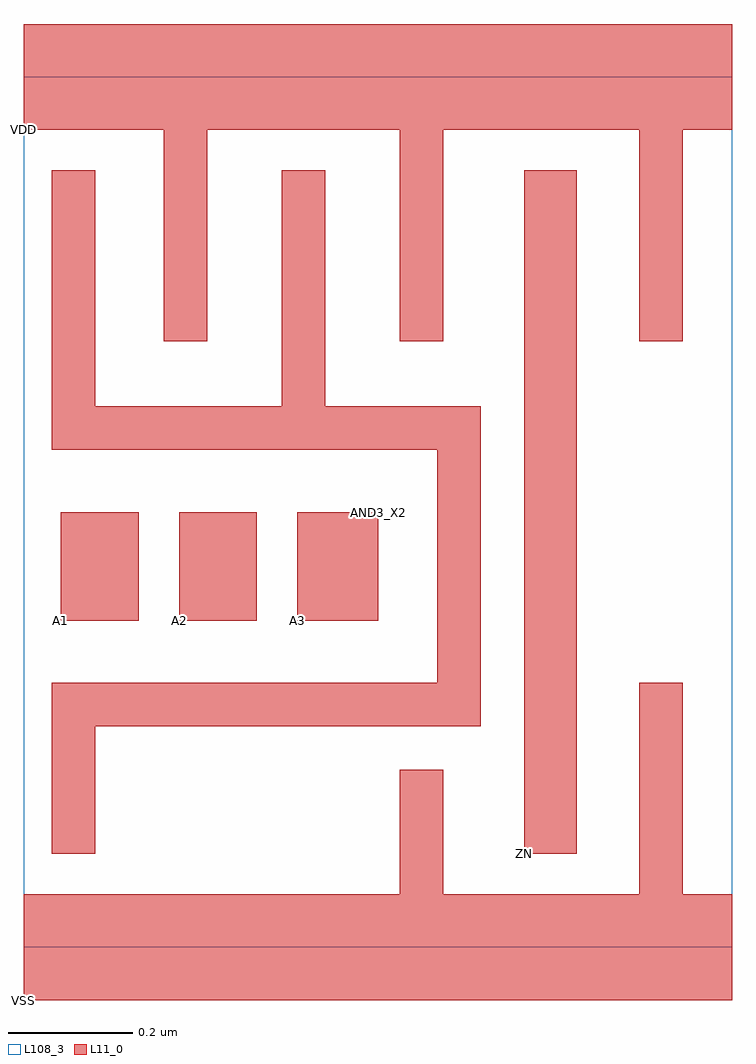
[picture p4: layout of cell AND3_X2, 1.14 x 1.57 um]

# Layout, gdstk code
import gdstk
lib = gdstk.Library(unit=1e-6, precision=1e-09)
def R(c, l, rs):  # rectangles x0, y0, x1, y1
    for r in rs: c.add(gdstk.rectangle(r[:2], r[2:], *l))
def P(c, l, *ps):  # polygons
    for p in ps: c.add(gdstk.Polygon(p, *l))
L11_0 = (11, 0)
L108_3 = (108, 3)

and3_x2 = lib.new_cell('AND3_X2')
R(and3_x2, L11_0, [(0.805,0.15,0.89,1.25), (0.06,0.525,0.185,0.7), (0.25,0.525,0.375,0.7), (0.44,0.525,0.57,0.7)])
P(and3_x2, L11_0, [(0,1.315),(0.225,1.315),(0.225,0.975),(0.295,0.975),(0.295,1.315),(0.605,1.315),(0.605,0.975),(0.675,0.975),(0.675,1.315),(0.735,1.315),(0.99,1.315),(0.99,0.975),(1.06,0.975),(1.06,1.315),(1.14,1.315),(1.14,1.485),(0.735,1.485),(0,1.485)],
  [(0,-0.085),(1.14,-0.085),(1.14,0.085),(1.06,0.085),(1.06,0.425),(0.99,0.425),(0.99,0.085),(0.675,0.085),(0.675,0.285),(0.605,0.285),(0.605,0.085),(0,0.085)],
  [(0.045,0.8),(0.665,0.8),(0.665,0.425),(0.045,0.425),(0.045,0.15),(0.115,0.15),(0.115,0.355),(0.735,0.355),(0.735,0.87),(0.485,0.87),(0.485,1.25),(0.415,1.25),(0.415,0.87),(0.115,0.87),(0.115,1.25),(0.045,1.25)])
R(and3_x2, L108_3, [(0,0,1.14,1.4)])
and3_x2.add(gdstk.Label('AND3_X2', (0.57,0.7), layer=108, texttype=3))
and3_x2.add(gdstk.Label('A1', (0.06,0.525), layer=11, texttype=0))
and3_x2.add(gdstk.Label('A2', (0.25,0.525), layer=11, texttype=0))
and3_x2.add(gdstk.Label('A3', (0.44,0.525), layer=11, texttype=0))
and3_x2.add(gdstk.Label('ZN', (0.805,0.15), layer=11, texttype=0))
and3_x2.add(gdstk.Label('VDD', (0,1.315), layer=11, texttype=0))
and3_x2.add(gdstk.Label('VSS', (0,-0.085), layer=11, texttype=0))

lib.write_gds('AND3_X2.gds')
